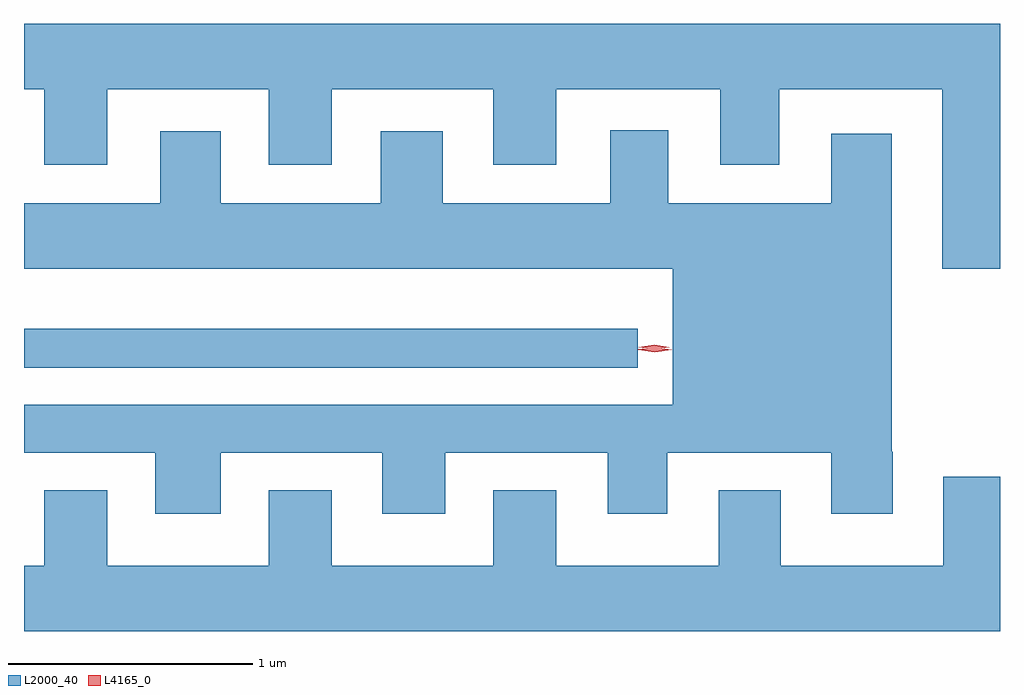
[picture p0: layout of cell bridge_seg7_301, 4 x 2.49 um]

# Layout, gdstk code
import gdstk
lib = gdstk.Library(unit=1e-6, precision=1e-09)
def R(c, l, rs):  # rectangles x0, y0, x1, y1
    for r in rs: c.add(gdstk.rectangle(r[:2], r[2:], *l))
def P(c, l, *ps):  # polygons
    for p in ps: c.add(gdstk.Polygon(p, *l))
L2000_40 = (2000, 40)
L4165_0 = (4165, 0)

bridge_seg7_301 = lib.new_cell('bridge_seg7_301')
R(bridge_seg7_301, L2000_40, [(1434.723,1766.456,1437.238,1766.614)])
P(bridge_seg7_301, L2000_40, [(1438.723,1767.864),(1434.723,1767.864),(1434.723,1767.596),(1434.806,1767.596),(1434.806,1767.286),(1435.064,1767.286),(1435.064,1767.596),(1435.726,1767.596),(1435.726,1767.286),(1435.984,1767.286),(1435.984,1767.596),(1436.646,1767.596),(1436.646,1767.286),(1436.904,1767.286),(1436.904,1767.596),(1437.576,1767.596),(1437.576,1767.286),(1437.819,1767.286),(1437.819,1767.596),(1438.486,1767.596),(1438.486,1766.861),(1438.723,1766.861)],
  [(1435.529,1766.106),(1436.191,1766.106),(1436.191,1765.856),(1436.449,1765.856),(1436.449,1766.106),(1437.116,1766.106),(1437.116,1765.856),(1437.359,1765.856),(1437.359,1766.106),(1438.031,1766.106),(1438.031,1765.856),(1438.284,1765.856),(1438.284,1766.11),(1438.279,1766.11),(1438.279,1767.414),(1438.031,1767.414),(1438.031,1767.129),(1437.364,1767.129),(1437.364,1767.429),(1437.126,1767.429),(1437.126,1767.129),(1436.439,1767.129),(1436.439,1767.424),(1436.186,1767.424),(1436.186,1767.129),(1435.529,1767.129),(1435.529,1767.424),(1435.281,1767.424),(1435.281,1767.129),(1434.723,1767.129),(1434.723,1766.861),(1437.381,1766.861),(1437.381,1766.304),(1434.723,1766.304),(1434.723,1766.106),(1435.261,1766.106),(1435.261,1765.856),(1435.529,1765.856)],
  [(1438.723,1766.009),(1438.491,1766.009),(1438.491,1765.644),(1437.824,1765.644),(1437.824,1765.954),(1437.571,1765.954),(1437.571,1765.644),(1436.904,1765.644),(1436.904,1765.954),(1436.646,1765.954),(1436.646,1765.644),(1435.984,1765.644),(1435.984,1765.954),(1435.726,1765.954),(1435.726,1765.644),(1435.064,1765.644),(1435.064,1765.954),(1434.806,1765.954),(1434.806,1765.644),(1434.723,1765.644),(1434.723,1765.376),(1438.723,1765.376)])
P(bridge_seg7_301, L4165_0, [(1437.308,1766.519),(1437.24,1766.528),(1437.239,1766.529),(1437.24,1766.53),(1437.308,1766.539),(1437.377,1766.529),(1437.378,1766.529),(1437.377,1766.528)],
  [(1437.305,1766.53),(1437.243,1766.539),(1437.243,1766.539),(1437.243,1766.54),(1437.305,1766.549),(1437.367,1766.54),(1437.368,1766.54),(1437.367,1766.539)])

lib.write_gds('bridge_seg7_301.gds')
